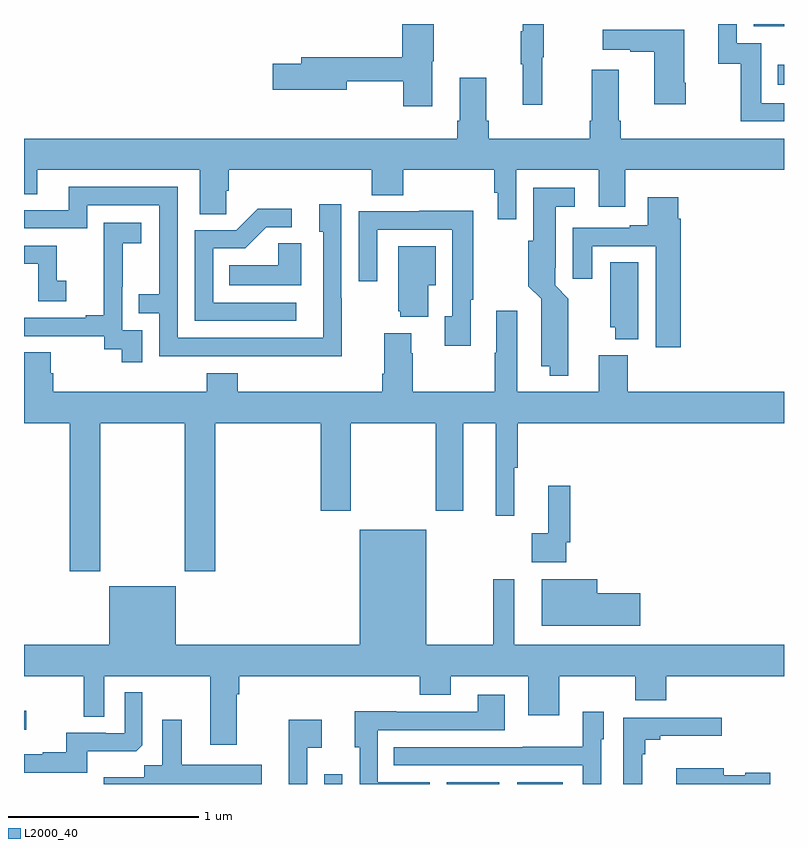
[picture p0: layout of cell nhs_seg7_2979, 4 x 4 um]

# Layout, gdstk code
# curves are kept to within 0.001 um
import gdstk
lib = gdstk.Library(unit=1e-6, precision=1e-09)
def R(c, l, rs):  # rectangles x0, y0, x1, y1
    for r in rs: c.add(gdstk.rectangle(r[:2], r[2:], *l))
def P(c, l, *ps):  # polygons
    for p in ps: c.add(gdstk.Polygon(p, *l))
L2000_40 = (2000, 40)

nhs_seg7_2979 = lib.new_cell('nhs_seg7_2979')
R(nhs_seg7_2979, L2000_40, [(302.58,1048,302.676,1048.051), (303.224,1048,303.502,1048.009), (303.596,1048,303.835,1048.009), (301,1048.286,301.012,1048.385), (304.966,1051.68,305,1051.785), (304.842,1051.989,305,1052)])
P(nhs_seg7_2979, L2000_40, [(303.148,1051.803),(303.156,1051.803),(303.156,1052),(302.99,1052),(302.99,1051.826),(302.459,1051.826),(302.459,1051.79),(302.31,1051.79),(302.31,1051.655),(302.698,1051.655),(302.698,1051.698),(302.995,1051.698),(302.995,1051.566),(303.148,1051.566)],
  [(303.728,1051.824),(303.736,1051.824),(303.736,1052),(303.626,1052),(303.626,1051.961),(303.615,1051.961),(303.615,1051.787),(303.626,1051.787),(303.626,1051.575),(303.728,1051.575)],
  [(305,1051.584),(304.881,1051.584),(304.881,1051.899),(304.752,1051.899),(304.752,1052),(304.655,1052),(304.655,1051.791),(304.773,1051.791),(304.773,1051.488),(305,1051.488)],
  [(304.482,1051.69),(304.474,1051.69),(304.474,1051.969),(304.047,1051.969),(304.047,1051.865),(304.19,1051.865),(304.19,1051.855),(304.316,1051.855),(304.316,1051.578),(304.482,1051.578)],
  [(303.591,1051.232),(304.025,1051.232),(304.025,1051.038),(304.165,1051.038),(304.165,1051.232),(305,1051.232),(305,1051.396),(304.142,1051.396),(304.142,1051.492),(304.129,1051.492),(304.129,1051.759),(303.989,1051.759),(303.989,1051.492),(303.977,1051.492),(303.977,1051.396),(303.446,1051.396),(303.446,1051.492),(303.433,1051.492),(303.433,1051.717),(303.293,1051.717),(303.293,1051.492),(303.281,1051.492),(303.281,1051.396),(301,1051.396),(301,1051.105),(301.069,1051.105),(301.069,1051.232),(301.925,1051.232),(301.925,1051),(302.064,1051),(302.064,1051.123),(302.078,1051.123),(302.078,1051.232),(302.831,1051.232),(302.831,1051.099),(302.996,1051.099),(302.996,1051.232),(303.475,1051.232),(303.475,1051.111),(303.494,1051.111),(303.494,1050.972),(303.591,1050.972)],
  [(302.673,1050.557),(302.67,1050.557),(302.67,1051.051),(302.555,1051.051),(302.555,1050.906),(302.574,1050.906),(302.574,1050.348),(301.809,1050.348),(301.809,1051.143),(301.235,1051.143),(301.235,1051.02),(301,1051.02),(301,1050.924),(301.332,1050.924),(301.332,1051.047),(301.713,1051.047),(301.713,1050.578),(301.603,1050.578),(301.603,1050.477),(301.713,1050.477),(301.713,1050.252),(302.209,1050.252),(302.209,1050.251),(302.673,1050.251)],
  [(303.864,1050.452),(303.865,1050.554),(303.795,1050.624),(303.795,1050.718),(303.799,1050.718),(303.799,1051.037),(303.898,1051.037),(303.898,1051.138),(303.68,1051.138),(303.68,1050.858),(303.655,1050.858),(303.655,1050.621),(303.722,1050.554),(303.722,1050.2),(303.767,1050.2),(303.767,1050.149),(303.864,1050.149)],
  [(304.457,1050.974),(304.444,1050.974),(304.444,1051.087),(304.283,1051.087),(304.283,1050.94),(304.187,1050.94),(304.187,1050.927),(303.887,1050.927),(303.887,1050.66),(303.991,1050.66),(303.991,1050.831),(304.325,1050.831),(304.325,1050.3),(304.457,1050.3)],
  [(302.434,1050.534),(301.995,1050.534),(301.995,1050.819),(302.164,1050.819),(302.275,1050.93),(302.41,1050.93),(302.41,1051.028),(302.231,1051.028),(302.118,1050.915),(301.899,1050.915),(301.899,1050.438),(302.434,1050.438)],
  [(303.352,1050.55),(303.364,1050.55),(303.364,1051.016),(303.079,1051.016),(303.079,1051.014),(302.763,1051.014),(302.763,1050.645),(302.859,1050.645),(302.859,1050.918),(303.255,1050.918),(303.255,1050.462),(303.215,1050.462),(303.215,1050.306),(303.352,1050.306)],
  [(301.623,1050.387),(301.518,1050.387),(301.518,1050.617),(301.52,1050.617),(301.52,1050.845),(301.618,1050.845),(301.618,1050.955),(301.42,1050.955),(301.42,1050.749),(301.421,1050.749),(301.421,1050.466),(301.325,1050.466),(301.325,1050.453),(301,1050.453),(301,1050.357),(301.422,1050.357),(301.422,1050.289),(301.515,1050.289),(301.515,1050.219),(301.623,1050.219)],
  [(302.458,1050.845),(302.337,1050.845),(302.337,1050.73),(302.08,1050.73),(302.08,1050.626),(302.458,1050.626)],
  [(301.222,1050.649),(301.173,1050.649),(301.173,1050.834),(301,1050.834),(301,1050.738),(301.074,1050.738),(301.074,1050.54),(301.222,1050.54)],
  [(303.127,1050.626),(303.166,1050.626),(303.166,1050.829),(302.969,1050.829),(302.969,1050.489),(302.981,1050.489),(302.981,1050.458),(303.127,1050.458)],
  [(304.234,1050.746),(304.085,1050.746),(304.085,1050.405),(304.112,1050.405),(304.112,1050.341),(304.234,1050.341)],
  [(303.599,1049.9),(305,1049.9),(305,1050.064),(304.178,1050.064),(304.178,1050.256),(304.025,1050.256),(304.025,1050.064),(303.595,1050.064),(303.595,1050.49),(303.485,1050.49),(303.485,1050.269),(303.478,1050.269),(303.478,1050.064),(303.045,1050.064),(303.045,1050.266),(303.037,1050.266),(303.037,1050.373),(302.897,1050.373),(302.897,1050.16),(302.885,1050.16),(302.885,1050.064),(302.126,1050.064),(302.126,1050.163),(301.961,1050.163),(301.961,1050.064),(301.154,1050.064),(301.154,1050.162),(301.141,1050.162),(301.141,1050.272),(301,1050.272),(301,1049.9),(301.241,1049.9),(301.241,1049.121),(301.401,1049.121),(301.401,1049.9),(301.846,1049.9),(301.846,1049.121),(302.006,1049.121),(302.006,1049.9),(302.561,1049.9),(302.561,1049.439),(302.721,1049.439),(302.721,1049.9),(303.166,1049.9),(303.166,1049.439),(303.313,1049.439),(303.313,1049.9),(303.482,1049.9),(303.482,1049.412),(303.581,1049.412),(303.581,1049.664),(303.599,1049.664)],
  [(303.855,1049.272),(303.875,1049.272),(303.875,1049.569),(303.758,1049.569),(303.758,1049.321),(303.672,1049.321),(303.672,1049.168),(303.855,1049.168)],
  [(302.119,1048.472),(302.132,1048.472),(302.132,1048.568),(303.083,1048.568),(303.083,1048.469),(303.247,1048.469),(303.247,1048.568),(303.653,1048.568),(303.653,1048.362),(303.817,1048.362),(303.817,1048.568),(304.217,1048.568),(304.217,1048.44),(304.381,1048.44),(304.381,1048.568),(305,1048.568),(305,1048.732),(303.58,1048.732),(303.58,1049.077),(303.471,1049.077),(303.471,1048.732),(303.118,1048.732),(303.118,1049.338),(302.768,1049.338),(302.768,1048.732),(301.798,1048.732),(301.798,1049.041),(301.448,1049.041),(301.448,1048.732),(301,1048.732),(301,1048.568),(301.314,1048.568),(301.314,1048.354),(301.422,1048.354),(301.422,1048.568),(301.979,1048.568),(301.979,1048.206),(302.119,1048.206)],
  [(304.243,1049.003),(304.018,1049.003),(304.018,1049.077),(303.725,1049.077),(303.725,1048.832),(304.243,1048.832)],
  [(301.333,1048.172),(301.591,1048.172),(301.623,1048.203),(301.623,1048.483),(301.53,1048.483),(301.53,1048.266),(301.43,1048.266),(301.43,1048.269),(301.223,1048.269),(301.223,1048.168),(301.099,1048.168),(301.099,1048.156),(301,1048.156),(301,1048.059),(301.333,1048.059)],
  [(303.135,1048.008),(302.862,1048.008),(302.862,1048.284),(303.529,1048.284),(303.529,1048.471),(303.389,1048.471),(303.389,1048.38),(302.959,1048.38),(302.959,1048.382),(302.741,1048.382),(302.741,1048.194),(302.766,1048.194),(302.766,1048),(303.135,1048)],
  [(304.038,1048.236),(304.051,1048.236),(304.051,1048.381),(303.942,1048.381),(303.942,1048.195),(303.625,1048.195),(303.625,1048.194),(302.947,1048.194),(302.947,1048.098),(303.942,1048.098),(303.942,1048),(304.038,1048)],
  [(304.253,1048.157),(304.271,1048.157),(304.271,1048.234),(304.348,1048.234),(304.348,1048.253),(304.672,1048.253),(304.672,1048.35),(304.155,1048.35),(304.155,1048),(304.253,1048)],
  [(302.251,1048.102),(301.831,1048.102),(301.831,1048.339),(301.727,1048.339),(301.727,1048.1),(301.632,1048.1),(301.632,1048.036),(301.421,1048.036),(301.421,1048),(302.251,1048)],
  [(302.49,1048.19),(302.566,1048.19),(302.566,1048.339),(302.393,1048.339),(302.393,1048),(302.49,1048)],
  [(304.927,1048.058),(304.797,1048.058),(304.797,1048.045),(304.684,1048.045),(304.684,1048.084),(304.433,1048.084),(304.433,1048),(304.927,1048)])

lib.write_gds('nhs_seg7_2979.gds')
